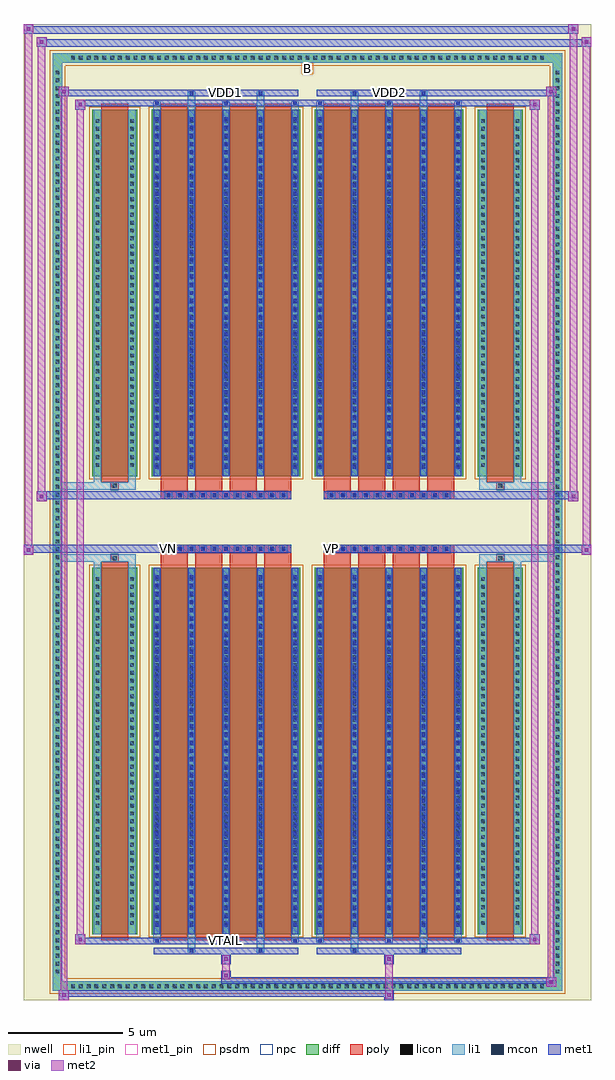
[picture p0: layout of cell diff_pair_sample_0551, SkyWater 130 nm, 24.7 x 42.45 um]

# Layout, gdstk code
import gdstk
lib = gdstk.Library(unit=1e-6, precision=5e-09)
def R(c, l, rs):  # rectangles x0, y0, x1, y1
    for r in rs: c.add(gdstk.rectangle(r[:2], r[2:], *l))
def A(c, l, x, y, w, h, nx, ny, dx, dy):  # array of equal rectangles
    R(c, l, [(x+i*dx, y+j*dy, x+i*dx+w, y+j*dy+h) for i in range(nx) for j in range(ny)])
def P(c, l, *ps):  # polygons
    for p in ps: c.add(gdstk.Polygon(p, *l))
nwell = (64, 20)
diff = (65, 20)
poly = (66, 20)
licon = (66, 44)
li1_pin = (67, 16)
li1 = (67, 20)
mcon = (67, 44)
met1_pin = (68, 16)
met1 = (68, 20)
via = (68, 44)
met2 = (69, 20)
psdm = (94, 20)
npc = (95, 20)

diff_pair_sample_0551 = lib.new_cell('diff_pair_sample_0551')
R(diff_pair_sample_0551, nwell, [(-12.35,-20.79,12.35,21.66), (-9.67,-18.98,-0.01,-0.8), (0.01,-18.98,9.67,-0.8), (-9.67,0.8,-0.01,18.98), (0.01,0.8,9.67,18.98)])
A(diff_pair_sample_0551, diff, -10.405, -20.39, 0.41, 0.41, 61, 2, 0.34, 40.37)
A(diff_pair_sample_0551, diff, -11.08, -19.755, 0.41, 0.41, 1, 116, 0, 0.34)
A(diff_pair_sample_0551, diff, 10.67, -19.755, 0.41, 0.41, 1, 116, 0, 0.34)
R(diff_pair_sample_0551, diff, [(-10.405,-20.39,10.405,-19.98), (-11.08,-19.755,-10.67,19.755), (10.67,-19.755,11.08,19.755), (-9.36,-17.935,-7.41,-1.985), (-6.77,-17.935,-0.32,-1.985), (0.32,-17.935,6.77,-1.985), (7.41,-17.935,9.36,-1.985), (-9.36,1.985,-7.41,17.935), (-6.77,1.985,-0.32,17.935), (0.32,1.985,6.77,17.935), (7.41,1.985,9.36,17.935), (-10.405,19.98,10.405,20.39)])
P(diff_pair_sample_0551, diff, [(11.08,20.39),(-11.08,20.39),(-11.08,-19.98),(-10.67,-19.98),(-10.67,19.98),(10.67,19.98),(10.67,-19.98),(-10.67,-19.98),(-11.08,-19.98),(-11.08,-20.39),(11.08,-20.39)])
A(diff_pair_sample_0551, poly, -6.38, -18.185, 1.17, 16.45, 4, 2, 1.5, 19.92)
A(diff_pair_sample_0551, poly, 0.71, -18.185, 1.17, 16.45, 4, 2, 1.5, 19.92)
A(diff_pair_sample_0551, poly, -6.38, -1.735, 1.17, 0.405, 4, 2, 1.5, 3.065)
A(diff_pair_sample_0551, poly, 0.71, -1.735, 1.17, 0.405, 4, 2, 1.5, 3.065)
A(diff_pair_sample_0551, poly, -6.21, -1.33, 0.33, 0.33, 11, 2, 0.5, 2.33)
A(diff_pair_sample_0551, poly, 0.88, -1.33, 0.33, 0.33, 11, 2, 0.5, 2.33)
R(diff_pair_sample_0551, poly, [(-8.97,-18.185,-7.8,-1.735), (7.8,-18.185,8.97,-1.735), (-8.55,-1.735,-8.22,-1.405), (-8.55,-1.735,-8.22,-1.405), (8.22,-1.735,8.55,-1.405), (8.22,-1.735,8.55,-1.405), (-6.38,-1.33,-0.71,-1), (0.71,-1.33,6.38,-1), (-6.38,1,-0.71,1.33), (0.71,1,6.38,1.33), (-8.55,1.405,-8.22,1.735), (-8.55,1.405,-8.22,1.735), (8.22,1.405,8.55,1.735), (8.22,1.405,8.55,1.735), (-8.97,1.735,-7.8,18.185), (7.8,1.735,8.97,18.185)])
A(diff_pair_sample_0551, licon, -10.285, -20.27, 0.17, 0.17, 61, 2, 0.34, 40.37)
A(diff_pair_sample_0551, licon, -10.96, -19.635, 0.17, 0.17, 1, 116, 0, 0.34)
A(diff_pair_sample_0551, licon, 10.79, -19.635, 0.17, 0.17, 1, 116, 0, 0.34)
A(diff_pair_sample_0551, licon, -9.22, -17.525, 0.17, 0.17, 1, 45, 0, 0.34)
A(diff_pair_sample_0551, licon, -7.72, -17.525, 0.17, 0.17, 1, 45, 0, 0.34)
A(diff_pair_sample_0551, licon, -6.63, -17.525, 0.17, 0.17, 5, 45, 1.5, 0.34)
A(diff_pair_sample_0551, licon, 0.46, -17.525, 0.17, 0.17, 5, 45, 1.5, 0.34)
A(diff_pair_sample_0551, licon, 7.55, -17.525, 0.17, 0.17, 1, 45, 0, 0.34)
A(diff_pair_sample_0551, licon, 9.05, -17.525, 0.17, 0.17, 1, 45, 0, 0.34)
A(diff_pair_sample_0551, licon, -6.13, -1.25, 0.17, 0.17, 11, 2, 0.5, 2.33)
A(diff_pair_sample_0551, licon, 0.96, -1.25, 0.17, 0.17, 11, 2, 0.5, 2.33)
A(diff_pair_sample_0551, licon, -9.22, 2.395, 0.17, 0.17, 1, 45, 0, 0.34)
A(diff_pair_sample_0551, licon, -7.72, 2.395, 0.17, 0.17, 1, 45, 0, 0.34)
A(diff_pair_sample_0551, licon, -6.63, 2.395, 0.17, 0.17, 5, 45, 1.5, 0.34)
A(diff_pair_sample_0551, licon, 0.46, 2.395, 0.17, 0.17, 5, 45, 1.5, 0.34)
A(diff_pair_sample_0551, licon, 7.55, 2.395, 0.17, 0.17, 1, 45, 0, 0.34)
A(diff_pair_sample_0551, licon, 9.05, 2.395, 0.17, 0.17, 1, 45, 0, 0.34)
R(diff_pair_sample_0551, licon, [(-8.47,-1.655,-8.3,-1.485), (8.3,-1.655,8.47,-1.485), (-8.47,1.485,-8.3,1.655), (8.3,1.485,8.47,1.655)])
R(diff_pair_sample_0551, li1_pin, [(-0.25,19.48,0.25,19.98)])
A(diff_pair_sample_0551, li1, -10.365, -20.35, 0.33, 0.33, 61, 2, 0.34, 40.37)
A(diff_pair_sample_0551, li1, -11.04, -19.715, 0.33, 0.33, 1, 116, 0, 0.34)
A(diff_pair_sample_0551, li1, 10.71, -19.715, 0.33, 0.33, 1, 116, 0, 0.34)
A(diff_pair_sample_0551, li1, -6.71, -18.31, 0.33, 0.375, 3, 2, 3, 36.245)
A(diff_pair_sample_0551, li1, -6.63, -18.31, 0.17, 0.17, 3, 2, 3, 36.45)
A(diff_pair_sample_0551, li1, 0.38, -18.31, 0.33, 0.375, 3, 2, 3, 36.245)
A(diff_pair_sample_0551, li1, 0.46, -18.31, 0.17, 0.17, 3, 2, 3, 36.45)
A(diff_pair_sample_0551, li1, -6.71, -17.935, 0.33, 15.95, 5, 2, 1.5, 19.92)
A(diff_pair_sample_0551, li1, 0.38, -17.935, 0.33, 15.95, 5, 2, 1.5, 19.92)
A(diff_pair_sample_0551, li1, -9.3, -17.605, 0.33, 0.33, 1, 45, 0, 0.34)
A(diff_pair_sample_0551, li1, -7.8, -17.605, 0.33, 0.33, 1, 45, 0, 0.34)
A(diff_pair_sample_0551, li1, -6.71, -17.605, 0.33, 0.33, 5, 45, 1.5, 0.34)
A(diff_pair_sample_0551, li1, -6.63, -17.605, 0.17, 0.17, 5, 43, 1.5, 0.36)
A(diff_pair_sample_0551, li1, -6.63, -17.605, 0.17, 15.29, 5, 2, 1.5, 19.92)
A(diff_pair_sample_0551, li1, 0.38, -17.605, 0.33, 0.33, 5, 45, 1.5, 0.34)
A(diff_pair_sample_0551, li1, 0.46, -17.605, 0.17, 0.17, 5, 43, 1.5, 0.36)
A(diff_pair_sample_0551, li1, 0.46, -17.605, 0.17, 15.29, 5, 2, 1.5, 19.92)
A(diff_pair_sample_0551, li1, 7.47, -17.605, 0.33, 0.33, 1, 45, 0, 0.34)
A(diff_pair_sample_0551, li1, 8.97, -17.605, 0.33, 0.33, 1, 45, 0, 0.34)
A(diff_pair_sample_0551, li1, -6.21, -1.33, 0.33, 0.33, 11, 2, 0.5, 2.33)
A(diff_pair_sample_0551, li1, 0.88, -1.33, 0.33, 0.33, 11, 2, 0.5, 2.33)
A(diff_pair_sample_0551, li1, -9.3, 2.315, 0.33, 0.33, 1, 45, 0, 0.34)
A(diff_pair_sample_0551, li1, -7.8, 2.315, 0.33, 0.33, 1, 45, 0, 0.34)
A(diff_pair_sample_0551, li1, -6.71, 2.315, 0.33, 0.33, 5, 45, 1.5, 0.34)
A(diff_pair_sample_0551, li1, -6.63, 2.315, 0.17, 0.17, 5, 43, 1.5, 0.36)
A(diff_pair_sample_0551, li1, 0.38, 2.315, 0.33, 0.33, 5, 45, 1.5, 0.34)
A(diff_pair_sample_0551, li1, 0.46, 2.315, 0.17, 0.17, 5, 43, 1.5, 0.36)
A(diff_pair_sample_0551, li1, 7.47, 2.315, 0.33, 0.33, 1, 45, 0, 0.34)
A(diff_pair_sample_0551, li1, 8.97, 2.315, 0.33, 0.33, 1, 45, 0, 0.34)
R(diff_pair_sample_0551, li1, [(-11.08,-20.39,-10.67,-19.98), (-11.08,-20.39,-10.67,-19.98), (-10.67,-20.39,10.67,-19.98), (10.67,-20.39,11.08,-19.98), (10.67,-20.39,11.08,-19.98), (-11.08,-19.98,-10.67,19.98), (10.67,-19.98,11.08,19.98), (-5.21,-18.74,-4.88,-17.935), (-5.13,-18.74,-4.96,-18.57), (-2.21,-18.74,-1.88,-17.935), (-2.13,-18.74,-1.96,-18.57), (1.88,-18.74,2.21,-17.935), (1.96,-18.74,2.13,-18.57), (4.88,-18.74,5.21,-17.935), (4.96,-18.74,5.13,-18.57), (-9.3,-17.935,-8.97,-1.985), (-7.8,-17.935,-7.47,-1.985), (7.47,-17.935,7.8,-1.985), (8.97,-17.935,9.3,-1.985), (-9.3,-1.985,-8.97,-1.405), (-7.8,-1.985,-7.47,-1.405), (7.47,-1.985,7.8,-1.405), (8.97,-1.985,9.3,-1.405), (-11.08,-1.735,-8.55,-1.405), (-9.3,-1.735,-8.55,-1.405), (-8.55,-1.735,-8.22,-1.405), (-8.22,-1.735,-7.47,-1.405), (7.47,-1.735,8.22,-1.405), (8.22,-1.735,8.55,-1.405), (8.22,-1.735,11.08,-1.405), (8.55,-1.735,9.3,-1.405), (-11.08,1.405,-8.55,1.735), (-9.3,1.405,-8.55,1.735), (-9.3,1.405,-8.97,1.985), (-8.55,1.405,-8.22,1.735), (-8.22,1.405,-7.47,1.735), (-7.8,1.405,-7.47,1.985), (7.47,1.405,8.22,1.735), (7.47,1.405,7.8,1.985), (8.22,1.405,8.55,1.735), (8.22,1.405,11.08,1.735), (8.55,1.405,9.3,1.735), (8.97,1.405,9.3,1.985), (-9.3,1.985,-8.97,17.935), (-7.8,1.985,-7.47,17.935), (7.47,1.985,7.8,17.935), (8.97,1.985,9.3,17.935), (-5.21,17.935,-4.88,18.74), (-2.21,17.935,-1.88,18.74), (1.88,17.935,2.21,18.74), (4.88,17.935,5.21,18.74), (-5.13,18.57,-4.96,18.74), (-2.13,18.57,-1.96,18.74), (1.96,18.57,2.13,18.74), (4.96,18.57,5.13,18.74), (-11.08,19.98,-10.67,20.39), (-11.08,19.98,-10.67,20.39), (-10.67,19.98,10.67,20.39), (10.67,19.98,11.08,20.39), (10.67,19.98,11.08,20.39)])
A(diff_pair_sample_0551, mcon, -6.63, -18.31, 0.17, 0.17, 3, 2, 3, 36.45)
A(diff_pair_sample_0551, mcon, 0.46, -18.31, 0.17, 0.17, 3, 2, 3, 36.45)
A(diff_pair_sample_0551, mcon, -6.63, -17.605, 0.17, 0.17, 5, 43, 1.5, 0.36)
A(diff_pair_sample_0551, mcon, 0.46, -17.605, 0.17, 0.17, 5, 43, 1.5, 0.36)
A(diff_pair_sample_0551, mcon, -6.13, -1.25, 0.17, 0.17, 11, 2, 0.5, 2.33)
A(diff_pair_sample_0551, mcon, 0.96, -1.25, 0.17, 0.17, 11, 2, 0.5, 2.33)
A(diff_pair_sample_0551, mcon, -6.63, 2.315, 0.17, 0.17, 5, 43, 1.5, 0.36)
A(diff_pair_sample_0551, mcon, 0.46, 2.315, 0.17, 0.17, 5, 43, 1.5, 0.36)
R(diff_pair_sample_0551, mcon, [(-5.13,-18.74,-4.96,-18.57), (-2.13,-18.74,-1.96,-18.57), (1.96,-18.74,2.13,-18.57), (4.96,-18.74,5.13,-18.57), (-5.13,18.57,-4.96,18.74), (-2.13,18.57,-1.96,18.74), (1.96,18.57,2.13,18.74), (4.96,18.57,5.13,18.74)])
R(diff_pair_sample_0551, met1_pin, [(-3.68,-18.35,-3.41,-18.08), (-6.18,-1.29,-5.91,-1.02), (0.91,-1.29,1.18,-1.02), (-3.68,18.53,-3.41,18.8), (3.41,18.53,3.68,18.8)])
A(diff_pair_sample_0551, met1, -6.69, -18.37, 0.29, 0.29, 3, 2, 3, 36.45)
A(diff_pair_sample_0551, met1, 0.4, -18.37, 0.29, 0.29, 3, 2, 3, 36.45)
A(diff_pair_sample_0551, met1, -6.69, -17.935, 0.29, 15.95, 5, 2, 1.5, 19.92)
A(diff_pair_sample_0551, met1, 0.4, -17.935, 0.29, 15.95, 5, 2, 1.5, 19.92)
A(diff_pair_sample_0551, met1, -6.69, -17.665, 0.29, 0.29, 5, 43, 1.5, 0.36)
A(diff_pair_sample_0551, met1, 0.4, -17.665, 0.29, 0.29, 5, 43, 1.5, 0.36)
A(diff_pair_sample_0551, met1, -6.19, -1.31, 0.29, 0.29, 11, 2, 0.5, 2.33)
A(diff_pair_sample_0551, met1, 0.9, -1.31, 0.29, 0.29, 11, 2, 0.5, 2.33)
A(diff_pair_sample_0551, met1, -6.69, 2.255, 0.29, 0.29, 5, 43, 1.5, 0.36)
A(diff_pair_sample_0551, met1, 0.4, 2.255, 0.29, 0.29, 5, 43, 1.5, 0.36)
R(diff_pair_sample_0551, met1, [(-10.81,-20.79,-10.38,-20.36), (3.33,-20.79,3.76,-20.36), (-10.81,-20.65,3.76,-20.36), (10.38,-20.22,10.81,-19.79), (-3.76,-20.08,10.81,-19.79), (-3.76,-19.94,-3.33,-19.51), (-3.76,-19.23,-3.33,-18.8), (3.33,-19.23,3.76,-18.8), (-6.69,-18.8,-0.4,-18.51), (-5.19,-18.8,-4.9,-18.51), (-2.19,-18.8,-1.9,-18.51), (0.4,-18.8,6.69,-18.51), (1.9,-18.8,2.19,-18.51), (4.9,-18.8,5.19,-18.51), (-10.1,-18.37,-9.67,-17.94), (-10.1,-18.37,-6.69,-18.08), (-6.69,-18.37,-0.4,-18.08), (-0.4,-18.37,0.4,-18.08), (0.4,-18.37,6.69,-18.08), (6.69,-18.37,10.1,-18.08), (9.67,-18.37,10.1,-17.94), (-12.35,-1.43,-11.92,-1), (11.92,-1.43,12.35,-1), (-12.35,-1.33,-0.71,-1), (-6.38,-1.33,-0.71,-1), (0.71,-1.33,6.38,-1), (0.71,-1.33,12.35,-1), (-11.78,0.9,-11.35,1.33), (11.35,0.9,11.78,1.33), (-11.78,1,-6.38,1.33), (-6.38,1,-0.71,1.33), (0.71,1,6.38,1.33), (6.38,1,11.78,1.33), (-10.1,17.94,-9.67,18.37), (9.67,17.94,10.1,18.37), (-10.1,18.08,-6.69,18.37), (-6.69,18.08,-0.4,18.37), (-0.4,18.08,0.4,18.37), (0.4,18.08,6.69,18.37), (6.69,18.08,10.1,18.37), (-10.81,18.51,-10.38,18.94), (-10.81,18.51,-6.69,18.8), (-6.69,18.51,-0.4,18.8), (-5.19,18.51,-4.9,18.8), (-2.19,18.51,-1.9,18.8), (0.4,18.51,6.69,18.8), (1.9,18.51,2.19,18.8), (4.9,18.51,5.19,18.8), (6.69,18.51,10.81,18.8), (10.38,18.51,10.81,18.94), (-11.78,20.66,-11.35,21.09), (-11.78,20.66,-9.67,20.99), (-9.67,20.66,9.67,20.99), (9.67,20.66,12.35,20.99), (11.92,20.66,12.35,21.09), (-12.35,21.23,-11.92,21.66), (-12.35,21.23,-9.67,21.56), (-9.67,21.23,9.67,21.56), (9.67,21.23,11.78,21.56), (11.35,21.23,11.78,21.66)])
R(diff_pair_sample_0551, via, [(-10.67,-20.65,-10.52,-20.5), (3.47,-20.65,3.62,-20.5), (10.52,-20.08,10.67,-19.93), (-3.62,-19.8,-3.47,-19.65), (-3.62,-19.09,-3.47,-18.94), (3.47,-19.09,3.62,-18.94), (-9.96,-18.23,-9.81,-18.08), (9.81,-18.23,9.96,-18.08), (-12.21,-1.29,-12.06,-1.14), (12.06,-1.29,12.21,-1.14), (-11.64,1.04,-11.49,1.19), (11.49,1.04,11.64,1.19), (-9.96,18.08,-9.81,18.23), (9.81,18.08,9.96,18.23), (-10.67,18.65,-10.52,18.8), (10.52,18.65,10.67,18.8), (-11.64,20.8,-11.49,20.95), (12.06,20.8,12.21,20.95), (-12.21,21.37,-12.06,21.52), (11.49,21.37,11.64,21.52)])
R(diff_pair_sample_0551, met2, [(-10.81,-20.79,-10.38,-20.36), (-10.74,-20.79,-10.45,18.94), (-10.45,-20.79,-10.38,-20.36), (-10.76,-20.74,-10.43,-20.41), (3.38,-20.74,3.71,-20.41), (3.38,-20.41,3.71,-19.18), (10.38,-20.22,10.81,-19.79), (10.45,-20.22,10.74,18.94), (10.74,-20.22,10.81,-19.79), (10.43,-20.17,10.76,-19.84), (-3.71,-19.89,-3.38,-19.56), (-3.71,-19.56,-3.38,-19.18), (-3.71,-19.18,-3.38,-18.85), (3.38,-19.18,3.71,-18.85), (-10.1,-18.37,-9.67,-17.94), (-10.03,-18.37,-9.74,18.37), (-9.74,-18.37,-9.67,-17.94), (9.67,-18.37,10.1,-17.94), (9.74,-18.37,10.03,18.37), (10.03,-18.37,10.1,-17.94), (-10.05,-18.32,-9.72,-17.99), (9.72,-18.32,10.05,-17.99), (-12.35,-1.43,-11.92,-1), (-12.3,-1.43,-11.97,21.66), (-11.97,-1.43,-11.92,-1), (11.92,-1.43,12.35,-1), (11.97,-1.43,12.3,21.09), (12.3,-1.43,12.35,-1), (-12.3,-1.38,-11.97,-1.05), (11.97,-1.38,12.3,-1.05), (-11.78,0.9,-11.35,1.33), (-11.73,0.9,-11.4,21.09), (-11.4,0.9,-11.35,1.33), (11.35,0.9,11.78,1.33), (11.4,0.9,11.73,21.66), (11.73,0.9,11.78,1.33), (-11.73,0.95,-11.4,1.28), (11.4,0.95,11.73,1.28), (-10.1,17.94,-9.67,18.37), (-9.74,17.94,-9.67,18.37), (9.67,17.94,10.1,18.37), (10.03,17.94,10.1,18.37), (-10.05,17.99,-9.72,18.32), (9.72,17.99,10.05,18.32), (-10.81,18.51,-10.38,18.94), (-10.45,18.51,-10.38,18.94), (10.38,18.51,10.81,18.94), (10.74,18.51,10.81,18.94), (-10.76,18.56,-10.43,18.89), (10.43,18.56,10.76,18.89), (-11.78,20.66,-11.35,21.09), (-11.4,20.66,-11.35,21.09), (11.92,20.66,12.35,21.09), (12.3,20.66,12.35,21.09), (-11.73,20.71,-11.4,21.04), (11.97,20.71,12.3,21.04), (-12.35,21.23,-11.92,21.66), (-11.97,21.23,-11.92,21.66), (11.35,21.23,11.78,21.66), (11.73,21.23,11.78,21.66), (-12.3,21.28,-11.97,21.61), (11.4,21.28,11.73,21.61)])
R(diff_pair_sample_0551, psdm, [(-9.49,-18.065,-7.28,-1.855), (-6.9,-18.065,-0.19,-1.855), (0.19,-18.065,6.9,-1.855), (7.28,-18.065,9.49,-1.855), (-9.49,1.855,-7.28,18.065), (-6.9,1.855,-0.19,18.065), (0.19,1.855,6.9,18.065), (7.28,1.855,9.49,18.065)])
P(diff_pair_sample_0551, psdm, [(11.21,20.52),(-11.21,20.52),(-11.21,-19.85),(-10.54,-19.85),(-10.54,19.85),(10.54,19.85),(10.54,-19.85),(-10.54,-19.85),(-11.21,-19.85),(-11.21,-20.52),(11.21,-20.52)])
A(diff_pair_sample_0551, npc, -6.23, -1.35, 0.37, 0.37, 11, 2, 0.5, 2.33)
A(diff_pair_sample_0551, npc, 0.86, -1.35, 0.37, 0.37, 11, 2, 0.5, 2.33)
R(diff_pair_sample_0551, npc, [(-8.57,-1.755,-8.2,-1.385), (8.2,-1.755,8.57,-1.385), (-6.23,-1.35,-5.36,-0.98), (-6.23,-1.35,-5.36,-0.98), (-5.73,-1.35,-4.86,-0.98), (-5.73,-1.35,-4.86,-0.98), (-5.23,-1.35,-4.36,-0.98), (-5.23,-1.35,-4.36,-0.98), (-4.73,-1.35,-3.86,-0.98), (-4.73,-1.35,-3.86,-0.98), (-4.23,-1.35,-3.36,-0.98), (-4.23,-1.35,-3.36,-0.98), (-3.73,-1.35,-2.86,-0.98), (-3.73,-1.35,-2.86,-0.98), (-3.23,-1.35,-2.36,-0.98), (-3.23,-1.35,-2.36,-0.98), (-2.73,-1.35,-1.86,-0.98), (-2.73,-1.35,-1.86,-0.98), (-2.23,-1.35,-1.36,-0.98), (-2.23,-1.35,-1.36,-0.98), (-1.73,-1.35,-0.86,-0.98), (-1.73,-1.35,-0.86,-0.98), (0.86,-1.35,1.73,-0.98), (0.86,-1.35,1.73,-0.98), (1.36,-1.35,2.23,-0.98), (1.36,-1.35,2.23,-0.98), (1.86,-1.35,2.73,-0.98), (1.86,-1.35,2.73,-0.98), (2.36,-1.35,3.23,-0.98), (2.36,-1.35,3.23,-0.98), (2.86,-1.35,3.73,-0.98), (2.86,-1.35,3.73,-0.98), (3.36,-1.35,4.23,-0.98), (3.36,-1.35,4.23,-0.98), (3.86,-1.35,4.73,-0.98), (3.86,-1.35,4.73,-0.98), (4.36,-1.35,5.23,-0.98), (4.36,-1.35,5.23,-0.98), (4.86,-1.35,5.73,-0.98), (4.86,-1.35,5.73,-0.98), (5.36,-1.35,6.23,-0.98), (5.36,-1.35,6.23,-0.98), (-6.23,0.98,-5.36,1.35), (-6.23,0.98,-5.36,1.35), (-5.73,0.98,-4.86,1.35), (-5.73,0.98,-4.86,1.35), (-5.23,0.98,-4.36,1.35), (-5.23,0.98,-4.36,1.35), (-4.73,0.98,-3.86,1.35), (-4.73,0.98,-3.86,1.35), (-4.23,0.98,-3.36,1.35), (-4.23,0.98,-3.36,1.35), (-3.73,0.98,-2.86,1.35), (-3.73,0.98,-2.86,1.35), (-3.23,0.98,-2.36,1.35), (-3.23,0.98,-2.36,1.35), (-2.73,0.98,-1.86,1.35), (-2.73,0.98,-1.86,1.35), (-2.23,0.98,-1.36,1.35), (-2.23,0.98,-1.36,1.35), (-1.73,0.98,-0.86,1.35), (-1.73,0.98,-0.86,1.35), (0.86,0.98,1.73,1.35), (0.86,0.98,1.73,1.35), (1.36,0.98,2.23,1.35), (1.36,0.98,2.23,1.35), (1.86,0.98,2.73,1.35), (1.86,0.98,2.73,1.35), (2.36,0.98,3.23,1.35), (2.36,0.98,3.23,1.35), (2.86,0.98,3.73,1.35), (2.86,0.98,3.73,1.35), (3.36,0.98,4.23,1.35), (3.36,0.98,4.23,1.35), (3.86,0.98,4.73,1.35), (3.86,0.98,4.73,1.35), (4.36,0.98,5.23,1.35), (4.36,0.98,5.23,1.35), (4.86,0.98,5.73,1.35), (4.86,0.98,5.73,1.35), (5.36,0.98,6.23,1.35), (5.36,0.98,6.23,1.35), (-8.57,1.385,-8.2,1.755), (8.2,1.385,8.57,1.755)])
diff_pair_sample_0551.add(gdstk.Label('VTAIL', (-3.545,-18.215), layer=68, texttype=5))
diff_pair_sample_0551.add(gdstk.Label('VN', (-6.045,-1.155), layer=68, texttype=5))
diff_pair_sample_0551.add(gdstk.Label('VP', (1.045,-1.155), layer=68, texttype=5))
diff_pair_sample_0551.add(gdstk.Label('B', (0,19.73), layer=67, texttype=5))
diff_pair_sample_0551.add(gdstk.Label('VDD2', (3.545,18.665), layer=68, texttype=5))
diff_pair_sample_0551.add(gdstk.Label('VDD1', (-3.545,18.665), layer=68, texttype=5))

lib.write_gds('diff_pair_sample_0551.gds')
